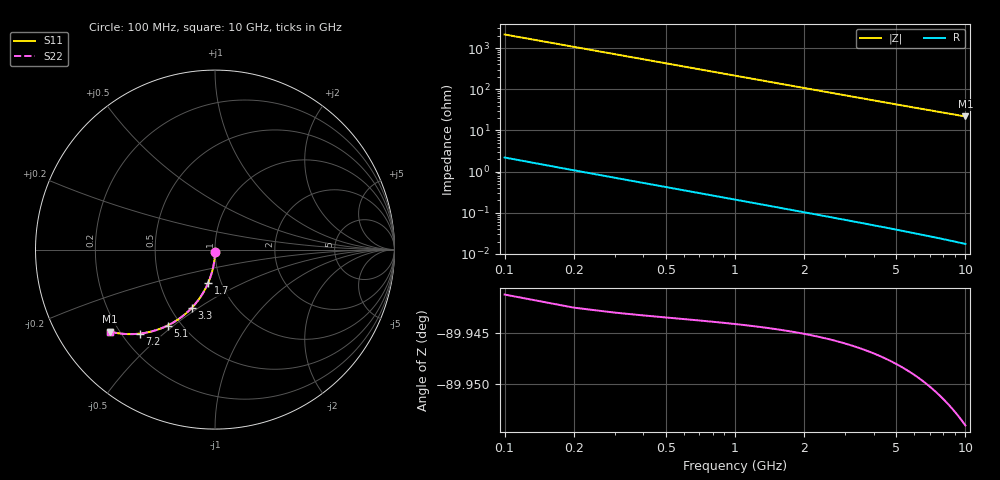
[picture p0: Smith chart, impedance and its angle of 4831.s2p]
# Hz S RI R 50.00
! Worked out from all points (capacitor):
!   100 points, 100 MHz to 10 GHz, reference 50 ohm
!   read as one part in shunt: C = 745 fF near 100 MHz
!   lowest |Z| = 21.8 ohm at 10 GHz (marker M1)
!   S11 on the Smith chart (normalised r, x): 100 MHz: 1.00, -0.02; 1.7 GHz: 0.87, -0.33; 3.3 GHz: 0.63, -0.47; 5.1 GHz: 0.42, -0.48; 7.2 GHz: 0.27, -0.42; 10 GHz: 0.16, -0.34
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1e8  2.06e-05 -0.0114  0.9997 -0.012  0.9997 -0.012  2.06e-05 -0.0114
2e8  -0.0004 -0.0227  0.9993 -0.0241  0.9993 -0.0241  -0.0004 -0.0227
3e8  -0.00109 -0.034  0.9986 -0.0361  0.9986 -0.0361  -0.00109 -0.034
4e8  -0.00206 -0.0453  0.9976 -0.0481  0.9976 -0.0481  -0.00206 -0.0453
5e8  -0.00329 -0.0566  0.9964 -0.06  0.9964 -0.06  -0.00329 -0.0566
6e8  -0.0048 -0.0678  0.9948 -0.0719  0.9948 -0.0719  -0.0048 -0.0678
8e8  -0.0086 -0.09  0.991 -0.0955  0.991 -0.0955  -0.0086 -0.09
9e8  -0.0109 -0.1011  0.9887 -0.1072  0.9887 -0.1072  -0.0109 -0.1011
1.1e9  -0.0162 -0.1228  0.9834 -0.1304  0.9834 -0.1304  -0.0162 -0.1228
1.4e9  -0.0261 -0.1547  0.9735 -0.1643  0.9735 -0.1643  -0.0261 -0.1547
1.7e9  -0.0381 -0.1856  0.9615 -0.1972  0.9615 -0.1972  -0.0381 -0.1856
1.8e9  -0.0425 -0.1956  0.9571 -0.2079  0.9571 -0.2079  -0.0425 -0.1956
2.1e9  -0.057 -0.2246  0.9425 -0.2391  0.9425 -0.2391  -0.057 -0.2246
2.5e9  -0.079 -0.2611  0.9205 -0.2783  0.9205 -0.2783  -0.079 -0.2611
3.3e9  -0.1303 -0.3251  0.8691 -0.3478  0.8691 -0.3478  -0.1303 -0.3251
3.4e9  -0.1372 -0.3322  0.8621 -0.3556  0.8621 -0.3556  -0.1372 -0.3322
4.2e9  -0.1957 -0.382  0.8036 -0.411  0.8036 -0.411  -0.1957 -0.382
5.1e9  -0.2645 -0.4232  0.7345 -0.4584  0.7345 -0.4584  -0.2645 -0.4232
6.7e9  -0.3845 -0.4629  0.614 -0.5094  0.614 -0.5094  -0.3845 -0.4629
7.2e9  -0.4196 -0.4681  0.5788 -0.5181  0.5788 -0.5181  -0.4196 -0.4681
8.4e9  -0.4974 -0.4702  0.5005 -0.5288  0.5005 -0.5288  -0.4974 -0.4702
1e10  -0.5858 -0.4567  0.4113 -0.5269  0.4113 -0.5269  -0.5858 -0.4567
